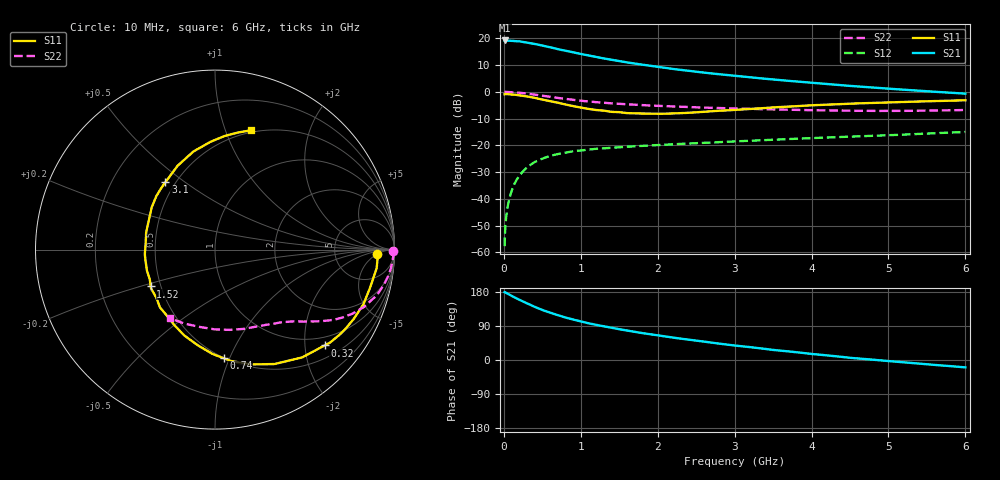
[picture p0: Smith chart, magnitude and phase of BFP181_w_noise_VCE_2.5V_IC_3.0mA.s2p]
! Infineon Technologies  Discrete & RF Semiconductors
! BFP181
! VCE = 2.5 V,  IC =  3.0 mA
! Common Emitter S-Parameters:  Jan 2016
# GHz  S  MA  R  50
!  f  S11  S21  S12  S22
! GHz  MAG  ANG  MAG  ANG  MAG  ANG  MAG  ANG
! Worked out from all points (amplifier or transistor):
!   210 points, 10 MHz to 6 GHz, reference 50 ohm
!   highest |S21| = 19.2 dB at 10 MHz (marker M1)
!   |S21| within 3 dB of that: start of sweep to 667.3 MHz
!   unconditionally stable (mu >= 1): 2.057 GHz to end of sweep
!   at 185 MHz: K = 0.13, MSG = 25.5 dB, |S12| = -32.0 dB
!   at 1.52 GHz: K = 0.81, MSG = 16.0 dB, |S12| = -20.7 dB
!   at 6 GHz: K = 1.10, MAG = 5.3 dB, |S12| = -15.0 dB
!   lowest NFmin = 1.40 dB at 450 MHz
!   S11 on the Smith chart (normalised r, x): 10 MHz: 18, -4; 320 MHz: 0.78, -2.44; 740 MHz: 0.50, -0.95; 1.52 GHz: 0.44, -0.22; 3.1 GHz: 0.44, +0.42; 6 GHz: 0.48, +1.23
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0.01  0.9006 -1.5  9.122 179.0  0.0013 85.3  0.9945 -0.6
0.02  0.9076 -2.7  9.073 178.3  0.0031 85.0  0.997 -1.2
0.03  0.9068 -4.0  9.073 177.1  0.0045 86.7  0.9952 -1.8
0.085  0.8936 -11.5  8.997 171.1  0.0119 82.0  0.988 -5.0
0.2  0.8634 -26.8  8.798 158.9  0.0268 74.8  0.962 -11.5
0.26  0.8414 -34.2  8.506 153.1  0.0338 70.4  0.9423 -14.8
0.32  0.8111 -41.2  8.217 147.9  0.0404 66.3  0.9195 -17.5
0.4  0.7726 -51.0  7.872 140.1  0.0486 61.6  0.889 -21.1
0.5  0.7183 -62.6  7.325 131.8  0.0562 56.1  0.8462 -24.9
0.6  0.6701 -72.7  6.846 124.7  0.0634 52.1  0.8054 -28.0
0.74  0.6065 -85.5  6.116 116.0  0.0703 46.9  0.7565 -31.3
0.9  0.5414 -100.3  5.488 106.7  0.0773 42.5  0.7083 -34.3
1.02  0.502 -111.1  5.036 100.8  0.0806 39.8  0.6765 -36.3
1.22  0.4535 -127.0  4.426 92.0  0.0863 36.1  0.6372 -39.0
1.52  0.413 -150.2  3.715 80.6  0.0923 33.0  0.5931 -42.4
1.8  0.3925 -170.1  3.217 71.0  0.0975 30.9  0.5633 -45.6
2.02  0.3878 176.1  2.895 64.4  0.1013 29.6  0.5449 -48.2
2.6  0.4242 146.2  2.286 48.5  0.111 27.3  0.5064 -55.8
3.1  0.466 126.4  1.931 36.2  0.1199 25.2  0.4824 -63.4
4.1  0.5666 100.3  1.436 14.2  0.138 21.1  0.4512 -81.8
5.1  0.6414 83.7  1.119 -4.5  0.1563 17.2  0.4392 -103.3
6  0.695 73.1  0.924 -19.5  0.1776 12.6  0.4578 -123.4
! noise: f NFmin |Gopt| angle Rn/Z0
0.45  1.4  0.56  17  0.36
0.9  1.5  0.45  35  0.34
1.8  1.85  0.25  82  0.36
